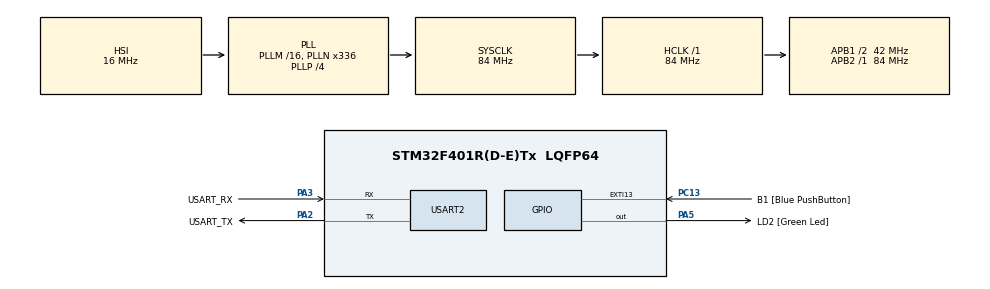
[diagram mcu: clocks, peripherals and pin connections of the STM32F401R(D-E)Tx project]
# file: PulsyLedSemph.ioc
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FREERTOS.Tasks01=defaultTask,0,128,StartDefaultTask,Default,NULL,Dynamic,NULL,NULL
Mcu.Family=STM32F4
Mcu.Name=STM32F401R(D-E)Tx
Mcu.Package=LQFP64
NVIC.EXTI15_10_IRQn=true\:5\:0\:false\:false\:true\:true\:true\:true\:true
NVIC.PriorityGroup=NVIC_PRIORITYGROUP_4
NVIC.TIM1_UP_TIM10_IRQn=true\:15\:0\:false\:false\:true\:false\:false\:true\:true
NVIC.TIM3_IRQn=true\:5\:0\:false\:false\:true\:true\:true\:true\:true
NVIC.TimeBase=TIM1_UP_TIM10_IRQn
NVIC.TimeBaseIP=TIM1
PA13.GPIO_Label=TMS
PA13.Mode=Serial_Wire
PA13.Signal=SYS_JTMS-SWDIO
PA14.GPIO_Label=TCK
PA14.Mode=Serial_Wire
PA14.Signal=SYS_JTCK-SWCLK
PA2.GPIO_Label=USART_TX
PA2.GPIO_Mode=GPIO_MODE_AF_PP
PA2.GPIO_PuPd=GPIO_NOPULL
PA2.GPIO_Speed=GPIO_SPEED_FREQ_LOW
PA2.Mode=Asynchronous
PA2.Signal=USART2_TX
PA3.GPIO_Label=USART_RX
PA3.GPIO_Mode=GPIO_MODE_AF_PP
PA3.GPIO_PuPd=GPIO_NOPULL
PA3.GPIO_Speed=GPIO_SPEED_FREQ_LOW
PA3.Mode=Asynchronous
PA3.Signal=USART2_RX
PA5.GPIO_Label=LD2 [Green Led]
PA5.GPIO_Mode=GPIO_MODE_OUTPUT_PP
PA5.GPIO_PuPd=GPIO_NOPULL
PA5.GPIO_Speed=GPIO_SPEED_FREQ_LOW
PA5.Signal=GPIO_Output
PB3.GPIO_Label=SWO
PB3.Signal=SYS_JTDO-SWO
PC13-ANTI_TAMP.GPIO_Label=B1 [Blue PushButton]
PC13-ANTI_TAMP.GPIO_ModeDefaultEXTI=GPIO_MODE_IT_FALLING
PC13-ANTI_TAMP.GPIO_PuPd=GPIO_NOPULL
PC13-ANTI_TAMP.Signal=GPXTI13
PC14-OSC32_IN.Mode=LSE-External-Oscillator
PC14-OSC32_IN.Signal=RCC_OSC32_IN
PC15-OSC32_OUT.Mode=LSE-External-Oscillator
PC15-OSC32_OUT.Signal=RCC_OSC32_OUT
PH0\ -\ OSC_IN.Mode=HSE-External-Clock-Source
PH0\ -\ OSC_IN.Signal=RCC_OSC_IN
PH1\ -\ OSC_OUT.Mode=HSE-External-Clock-Source
PH1\ -\ OSC_OUT.Signal=RCC_OSC_OUT
ProjectManager.HeapSize=0x200
ProjectManager.StackSize=0x400
ProjectManager.TargetToolchain=STM32CubeIDE
RCC.48MHZClocksFreq_Value=48000000
RCC.AHBFreq_Value=84000000
RCC.APB1CLKDivider=RCC_HCLK_DIV2
RCC.APB1Freq_Value=42000000
RCC.APB1TimFreq_Value=84000000
RCC.APB2Freq_Value=84000000
RCC.APB2TimFreq_Value=84000000
RCC.CortexFreq_Value=84000000
RCC.HCLKFreq_Value=84000000
RCC.HSE_VALUE=8000000
RCC.HSI_VALUE=16000000
RCC.PLLN=336
RCC.PLLP=RCC_PLLP_DIV4
RCC.PLLQ=7
RCC.SYSCLKFreq_VALUE=84000000
RCC.SYSCLKSource=RCC_SYSCLKSOURCE_PLLCLK
RCC.VCOOutputFreq_Value=336000000
TIM3.Period=10
TIM3.Prescaler=8399
USART2.VirtualMode=VM_ASYNC
VP_FREERTOS_VS_CMSIS_V1.Mode=CMSIS_V1
VP_SYS_VS_tim1.Mode=TIM1
VP_TIM3_VS_ClockSourceINT.Mode=Internal
board=NUCLEO-F401RE

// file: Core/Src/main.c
/* USER CODE BEGIN Header */
/**
  ******************************************************************************
  * @file           : main.c
  * @brief          : Main program body
  ******************************************************************************
  * @attention
  *
  * Copyright (c) 2022 STMicroelectronics.
  * All rights reserved.
  *
  * This software is licensed under terms that can be found in the LICENSE file
  * in the root directory of this software component.
  * If no LICENSE file comes with this software, it is provided AS-IS.
  *
  ******************************************************************************
  */
/* USER CODE END Header */
#include "main.h"
#include "cmsis_os.h"

/* USER CODE BEGIN PD */
#define IDLE 0
#define CONTANDO 1
#define MODO_1 1
#define MODO_2 2
#define SYS_TICK_MS 1
#define T_1SEG 1000/SYS_TICK_MS
/* USER CODE END PD */

 TIM_HandleTypeDef htim3;

UART_HandleTypeDef huart2;

osThreadId defaultTaskHandle;
/* USER CODE BEGIN PV */

SemaphoreHandle_t Sem1;
SemaphoreHandle_t Sem2;

unsigned int t = 0;

/* USER CODE END PV */

void SystemClock_Config(void);
static void MX_GPIO_Init(void);
static void MX_USART2_UART_Init(void);
static void MX_TIM3_Init(void);
void StartDefaultTask(void const * argument);

/* USER CODE BEGIN PFP */

void Tsk_Pulsador(void*);
void Tsk_LED_MODO1(void*);
void Tsk_LED_MODO2(void*);

/* USER CODE END PFP */

int main(void)
{

  /* MCU Configuration--------------------------------------------------------*/

  /* Reset of all peripherals, Initializes the Flash interface and the Systick. */
  HAL_Init();

  /* Configure the system clock */
  SystemClock_Config();

  /* Initialize all configured peripherals */
  MX_GPIO_Init();
  MX_USART2_UART_Init();
  MX_TIM3_Init();
  /* USER CODE BEGIN 2 */

  HAL_TIM_Base_Start_IT(&htim3);

  vSemaphoreCreateBinary(Sem1);
  vSemaphoreCreateBinary(Sem2);

  xSemaphoreTake(Sem1,0);
  xSemaphoreTake(Sem2,0);

  /* USER CODE END 2 */

  /* Create the thread(s) */
  /* definition and creation of defaultTask */
  osThreadDef(defaultTask, StartDefaultTask, osPriorityNormal, 0, 128);
  defaultTaskHandle = osThreadCreate(osThread(defaultTask), NULL);

  /* USER CODE BEGIN RTOS_THREADS */
  /* add threads, ... */

  xTaskCreate(Tsk_Pulsador, "Tsk Puls", configMINIMAL_STACK_SIZE, NULL, tskIDLE_PRIORITY+1, NULL);
  xTaskCreate(Tsk_LED_MODO1, "Tsk LM1", configMINIMAL_STACK_SIZE, NULL, tskIDLE_PRIORITY+1, NULL);
  xTaskCreate(Tsk_LED_MODO2, "Tsk LM2", configMINIMAL_STACK_SIZE, NULL, tskIDLE_PRIORITY+1, NULL);
  /* USER CODE END RTOS_THREADS */

  /* Start scheduler */
  osKernelStart();

  /* We should never get here as control is now taken by the scheduler */
  /* Infinite loop */
  while (1)
  {

  }
}

void SystemClock_Config(void)
{
  RCC_OscInitTypeDef RCC_OscInitStruct = {0};
  RCC_ClkInitTypeDef RCC_ClkInitStruct = {0};

  /** Configure the main internal regulator output voltage
  */
  __HAL_RCC_PWR_CLK_ENABLE();
  __HAL_PWR_VOLTAGESCALING_CONFIG(PWR_REGULATOR_VOLTAGE_SCALE2);

  /** Initializes the RCC Oscillators according to the specified parameters
  * in the RCC_OscInitTypeDef structure.
  */
  RCC_OscInitStruct.OscillatorType = RCC_OSCILLATORTYPE_HSI;
  RCC_OscInitStruct.HSIState = RCC_HSI_ON;
  RCC_OscInitStruct.HSICalibrationValue = RCC_HSICALIBRATION_DEFAULT;
  RCC_OscInitStruct.PLL.PLLState = RCC_PLL_ON;
  RCC_OscInitStruct.PLL.PLLSource = RCC_PLLSOURCE_HSI;
  RCC_OscInitStruct.PLL.PLLM = 16;
  RCC_OscInitStruct.PLL.PLLN = 336;
  RCC_OscInitStruct.PLL.PLLP = RCC_PLLP_DIV4;
  RCC_OscInitStruct.PLL.PLLQ = 7;
  if (HAL_RCC_OscConfig(&RCC_OscInitStruct) != HAL_OK)
  {
    Error_Handler();
  }

  /** Initializes the CPU, AHB and APB buses clocks
  */
  RCC_ClkInitStruct.ClockType = RCC_CLOCKTYPE_HCLK|RCC_CLOCKTYPE_SYSCLK
                              |RCC_CLOCKTYPE_PCLK1|RCC_CLOCKTYPE_PCLK2;
  RCC_ClkInitStruct.SYSCLKSource = RCC_SYSCLKSOURCE_PLLCLK;
  RCC_ClkInitStruct.AHBCLKDivider = RCC_SYSCLK_DIV1;
  RCC_ClkInitStruct.APB1CLKDivider = RCC_HCLK_DIV2;
  RCC_ClkInitStruct.APB2CLKDivider = RCC_HCLK_DIV1;

  if (HAL_RCC_ClockConfig(&RCC_ClkInitStruct, FLASH_LATENCY_2) != HAL_OK)
  {
    Error_Handler();
  }
}

static void MX_TIM3_Init(void)
{

  TIM_ClockConfigTypeDef sClockSourceConfig = {0};
  TIM_MasterConfigTypeDef sMasterConfig = {0};

  htim3.Instance = TIM3;
  htim3.Init.Prescaler = 8399;
  htim3.Init.CounterMode = TIM_COUNTERMODE_UP;
  htim3.Init.Period = 10;
  htim3.Init.ClockDivision = TIM_CLOCKDIVISION_DIV1;
  htim3.Init.AutoReloadPreload = TIM_AUTORELOAD_PRELOAD_DISABLE;
  if (HAL_TIM_Base_Init(&htim3) != HAL_OK)
  {
    Error_Handler();
  }
  sClockSourceConfig.ClockSource = TIM_CLOCKSOURCE_INTERNAL;
  if (HAL_TIM_ConfigClockSource(&htim3, &sClockSourceConfig) != HAL_OK)
  {
    Error_Handler();
  }
  sMasterConfig.MasterOutputTrigger = TIM_TRGO_RESET;
  sMasterConfig.MasterSlaveMode = TIM_MASTERSLAVEMODE_DISABLE;
  if (HAL_TIMEx_MasterConfigSynchronization(&htim3, &sMasterConfig) != HAL_OK)
  {
    Error_Handler();
  }

}

static void MX_USART2_UART_Init(void)
{

  huart2.Instance = USART2;
  huart2.Init.BaudRate = 115200;
  huart2.Init.WordLength = UART_WORDLENGTH_8B;
  huart2.Init.StopBits = UART_STOPBITS_1;
  huart2.Init.Parity = UART_PARITY_NONE;
  huart2.Init.Mode = UART_MODE_TX_RX;
  huart2.Init.HwFlowCtl = UART_HWCONTROL_NONE;
  huart2.Init.OverSampling = UART_OVERSAMPLING_16;
  if (HAL_UART_Init(&huart2) != HAL_OK)
  {
    Error_Handler();
  }

}

static void MX_GPIO_Init(void)
{
  GPIO_InitTypeDef GPIO_InitStruct = {0};

  /* GPIO Ports Clock Enable */
  __HAL_RCC_GPIOC_CLK_ENABLE();
  __HAL_RCC_GPIOH_CLK_ENABLE();
  __HAL_RCC_GPIOA_CLK_ENABLE();
  __HAL_RCC_GPIOB_CLK_ENABLE();

  /*Configure GPIO pin Output Level */
  HAL_GPIO_WritePin(LD2_GPIO_Port, LD2_Pin, GPIO_PIN_RESET);

  /*Configure GPIO pin : B1_Pin */
  GPIO_InitStruct.Pin = B1_Pin;
  GPIO_InitStruct.Mode = GPIO_MODE_IT_FALLING;
  GPIO_InitStruct.Pull = GPIO_NOPULL;
  HAL_GPIO_Init(B1_GPIO_Port, &GPIO_InitStruct);

  /*Configure GPIO pin : LD2_Pin */
  GPIO_InitStruct.Pin = LD2_Pin;
  GPIO_InitStruct.Mode = GPIO_MODE_OUTPUT_PP;
  GPIO_InitStruct.Pull = GPIO_NOPULL;
  GPIO_InitStruct.Speed = GPIO_SPEED_FREQ_LOW;
  HAL_GPIO_Init(LD2_GPIO_Port, &GPIO_InitStruct);

  /* EXTI interrupt init*/
  HAL_NVIC_SetPriority(EXTI15_10_IRQn, 5, 0);
  HAL_NVIC_EnableIRQ(EXTI15_10_IRQn);

}

/* USER CODE BEGIN 4 */

void Tsk_Pulsador(void* pvParameters)
{
	static unsigned char estado=IDLE;
	static unsigned char modo = 0;
	while(1)
	{

		switch(estado)
		{
			case IDLE:
				if(HAL_GPIO_ReadPin(B1_GPIO_Port, B1_Pin) == 0)
				{
					t=T_1SEG;
					estado = CONTANDO;
				}
				break;
			case CONTANDO:
				if(HAL_GPIO_ReadPin(B1_GPIO_Port, B1_Pin)==1)
				{
					if(t>0)
						modo = MODO_1;

					else
						modo = MODO_2;

					estado = IDLE;

				}
				break;

		}
		if(modo == MODO_1)
		{
			xSemaphoreTake(Sem2,0);
			xSemaphoreGive(Sem1);

		}else if(modo == MODO_2)
		{
			xSemaphoreTake(Sem1,0);
			xSemaphoreGive(Sem2);
		}

	}
}
void Tsk_LED_MODO1(void* pvParameters)
{
	while(1)
	{
		xSemaphoreTake(Sem1,portMAX_DELAY);

		HAL_GPIO_TogglePin(LD2_GPIO_Port, LD2_Pin);

		vTaskDelay(250);

	}
}
void Tsk_LED_MODO2(void* pvParameters)
{

	while(1)
	{
		xSemaphoreTake(Sem2,portMAX_DELAY);

		HAL_GPIO_TogglePin(LD2_GPIO_Port, LD2_Pin);

		vTaskDelay(500);

	}
}

/* USER CODE END 4 */

void StartDefaultTask(void const * argument)
{
  for(;;)
  {
    osDelay(1);
  }
}

void HAL_TIM_PeriodElapsedCallback(TIM_HandleTypeDef *htim)
{
  if (htim->Instance == TIM1) {
    HAL_IncTick();
  }
  /* USER CODE BEGIN Callback 1 */
  if (htim->Instance == TIM1)
  {
	  if(t>0) t--;
  }
  /* USER CODE END Callback 1 */
}

void Error_Handler(void)
{
  __disable_irq();
  while (1)
  {
  }
}
